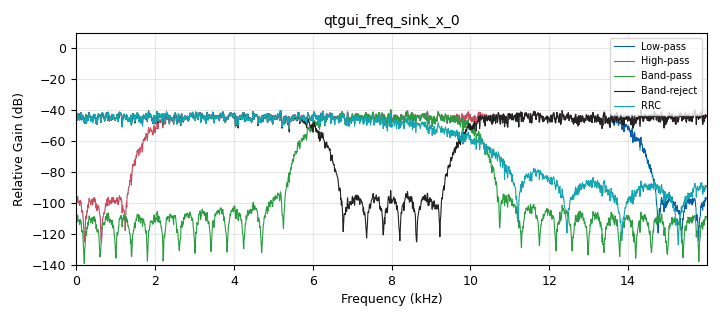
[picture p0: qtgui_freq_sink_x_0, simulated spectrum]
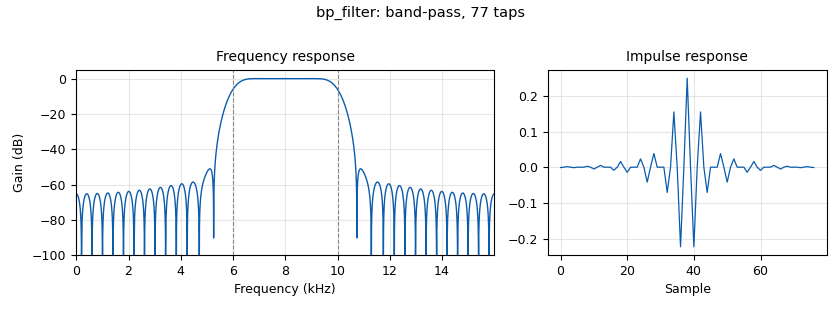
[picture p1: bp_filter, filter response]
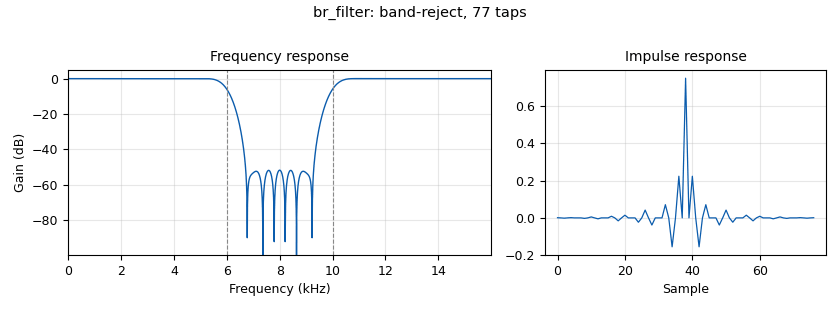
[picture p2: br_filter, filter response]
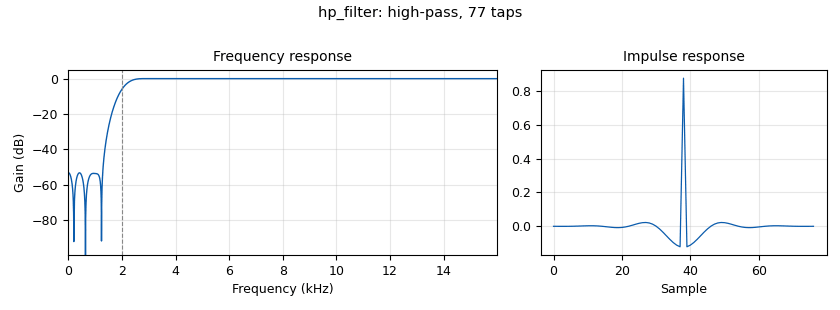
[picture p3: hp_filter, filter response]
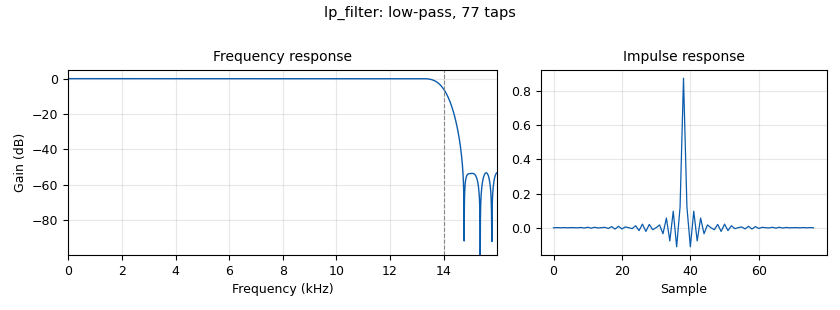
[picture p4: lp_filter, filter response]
options:
  parameters:
    category: Custom
    generate_options: qt_gui
    id: filter_taps
    output_language: python
  states: {}

blocks:
- name: bp_high
  id: variable
  parameters:
    value: '10000'
  states: {}
- name: bp_low
  id: variable
  parameters:
    value: '6000'
  states: {}
- name: bp_taps
  id: variable_band_pass_filter_taps
  parameters:
    gain: '1.0'
    high_cutoff_freq: bp_high
    low_cutoff_freq: bp_low
    samp_rate: samp_rate
    type: band_pass
    width: transition
    win: window.WIN_HAMMING
  states: {}
- name: br_taps
  id: variable_band_reject_filter_taps
  parameters:
    gain: '1.0'
    high_cutoff_freq: bp_high
    low_cutoff_freq: bp_low
    samp_rate: samp_rate
    type: band_reject
    width: transition
    win: window.WIN_HAMMING
  states: {}
- name: bw
  id: variable_qtgui_range
  parameters:
    start: '0.01'
    step: '0.01'
    stop: '2'
    value: '0.350'
  states: {}
- name: cutoff_high
  id: variable
  parameters:
    value: '14000'
  states: {}
- name: cutoff_low
  id: variable
  parameters:
    value: '2000'
  states: {}
- name: gain
  id: variable_qtgui_range
  parameters:
    start: '0'
    step: '0.1'
    stop: '10'
    value: '1'
  states: {}
- name: hp_taps
  id: variable_high_pass_filter_taps
  parameters:
    cutoff_freq: cutoff_low
    gain: '1.0'
    samp_rate: samp_rate
    width: transition
    win: window.WIN_HAMMING
  states: {}
- name: len_taps
  id: variable
  parameters:
    value: len(lp_taps)
  states: {}
- name: lp_taps
  id: variable_low_pass_filter_taps
  parameters:
    cutoff_freq: cutoff_high
    gain: '1.0'
    samp_rate: samp_rate
    width: transition
    win: window.WIN_HAMMING
  states: {}
- name: rrc_taps
  id: variable_rrc_filter_taps
  parameters:
    alpha: bw
    gain: gain
    ntaps: 11*sps
    samp_rate: samp_rate
    sym_rate: sym_rate
  states: {}
- name: samp_rate
  id: variable
  parameters:
    value: '32000'
  states: {}
- name: sps
  id: variable
  parameters:
    value: '2'
  states: {}
- name: sym_rate
  id: variable
  parameters:
    value: samp_rate/sps
  states: {}
- name: transition
  id: variable
  parameters:
    value: '1000'
  states: {}
- name: analog_fastnoise_source_x_0
  id: analog_fastnoise_source_x
  parameters:
    amp: '1'
    noise_type: analog.GR_GAUSSIAN
    samples: '8192'
    seed: '0'
    type: float
  states: {}
- name: bp_filter
  id: fir_filter_xxx
  parameters:
    comment: Band-pass filter
    decim: '1'
    taps: bp_taps
    type: fff
  states: {}
- name: br_filter
  id: fir_filter_xxx
  parameters:
    comment: Band-reject filter
    decim: '1'
    taps: br_taps
    type: fff
  states: {}
- name: hp_filter
  id: fir_filter_xxx
  parameters:
    comment: High-pass filter
    decim: '1'
    taps: hp_taps
    type: fff
  states: {}
- name: lp_filter
  id: fir_filter_xxx
  parameters:
    comment: Low-pass filter
    decim: '1'
    taps: lp_taps
    type: fff
  states: {}
- name: note_0
  id: note
  parameters:
    comment: |-
      1.Gain: Overall gain of filter (default 1.0)
      2.Sample Rate: Sample rate in samples per second.
      3.Symbol Rate: Symbol rate, must be a factor of sample rate. Typically ((samples/second) / (samples/symbol)).
      4.Excess BW: Excess bandwidth factor, also known as alpha. (default: 0.35)
      5.Num Taps: Number of taps (default: 11*samp_rate). Note that the number of generated filter coefficients will be num_taps + 1.

      https://wiki.gnuradio.org/index.php/RRC_Filter_Taps
    note: RRC Filter Taps
  states: {}
- name: qtgui_freq_sink_x_0
  id: qtgui_freq_sink_x
  parameters:
    alpha1: '0.9'
    alpha2: '0.9'
    alpha3: '0.9'
    alpha4: '0.9'
    alpha5: '0.9'
    average: '0.2'
    bw: samp_rate
    color4: '"cyan"'
    color5: '"magenta"'
    ctrlpanel: 'True'
    fc: '0'
    fftsize: '4096'
    freqhalf: 'False'
    grid: 'True'
    label1: Low-pass
    label2: High-pass
    label3: Band-pass
    label4: Band-reject
    label5: RRC
    nconnections: '5'
    showports: 'True'
    type: float
  states: {}
- name: rrc_filter
  id: fir_filter_xxx
  parameters:
    comment: RRC filter
    decim: '1'
    taps: rrc_taps
    type: fff
  states: {}

connections:
- [analog_fastnoise_source_x_0, '0', bp_filter, '0']
- [analog_fastnoise_source_x_0, '0', br_filter, '0']
- [analog_fastnoise_source_x_0, '0', hp_filter, '0']
- [analog_fastnoise_source_x_0, '0', lp_filter, '0']
- [analog_fastnoise_source_x_0, '0', rrc_filter, '0']
- [bp_filter, '0', qtgui_freq_sink_x_0, '2']
- [br_filter, '0', qtgui_freq_sink_x_0, '3']
- [hp_filter, '0', qtgui_freq_sink_x_0, '1']
- [lp_filter, '0', qtgui_freq_sink_x_0, '0']
- [rrc_filter, '0', qtgui_freq_sink_x_0, '4']

metadata:
  file_format: 1
  grc_version: 3.10.9.2
